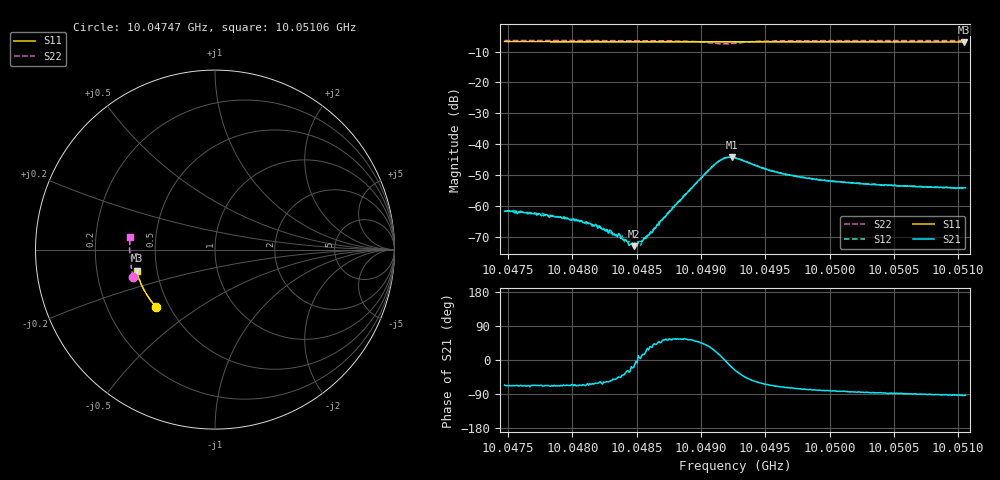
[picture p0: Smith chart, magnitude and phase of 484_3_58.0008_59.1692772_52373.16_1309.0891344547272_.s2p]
#  HZ  S  RI  R  50.00
! Rohde & Schwarz Vector Network Analyzer
! Rohde-Schwarz,ZNB20-2Port,1311601062101988,3.16
! Created: UTC 3/21/2024, 1:12:00 AM
! freq[Hz]  re:S11  im:S11  re:S21  im:S21  re:S12  im:S12  re:S22  im:S22
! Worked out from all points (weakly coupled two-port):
!   401 points, 10.04747 GHz to 10.05106 GHz, reference 50 ohm
!   highest |S21| = -44.29 dB at 10.04924 GHz (marker M1); lowest = -73.1 dB at 10.04848 GHz (marker M2)
!   lowest |S11| = -6.9 dB at 10.05105 GHz (marker M3), VSWR 2.65, Z = 19.2 - j5.65 ohm
!   |S11| at or under -10 dB: nowhere
!   |S22| runs from -7.5 to -6.4 dB; largest |S21 - S12| = 0.00044
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1.0047474e10  -0.3265 -0.3216  0.000324 -0.000742  0.000357 -0.000742  -0.4542 -0.1517
1.004777e10  -0.3395 -0.307  0.000257 -0.000654  0.000326 -0.000678  -0.4597 -0.1321
1.0048074e10  -0.3522 -0.2915  0.000217 -0.000513  0.000263 -0.000504  -0.4645 -0.111
1.0048119e10  -0.3539 -0.2891  0.000245 -0.000469  0.000246 -0.000456  -0.465 -0.1079
1.0048289e10  -0.3607 -0.2801  0.000218 -0.000336  0.000254 -0.000275  -0.467 -0.0956
1.0048378e10  -0.3641 -0.2754  0.000211 -0.000213  0.000196 -0.000219  -0.4678 -0.0887
1.0048423e10  -0.3658 -0.2729  0.000237 -0.000133  0.000225 -0.000142  -0.4682 -0.0854
1.0048459e10  -0.3671 -0.2711  0.000227 -7.16e-05  0.000254 -0.000112  -0.4684 -0.0824
1.0048477e10  -0.3679 -0.2701  0.000208 -7.41e-05  0.00023 -5.35e-05  -0.4684 -0.081
1.0048513e10  -0.3692 -0.2682  0.000257 5.13e-05  0.000256 1.92e-05  -0.4687 -0.078
1.004854e10  -0.3702 -0.2667  0.000263 5.6e-05  0.000241 6.75e-05  -0.4686 -0.0758
1.0048602e10  -0.3725 -0.2633  0.000287 0.000202  0.000293 0.000197  -0.4687 -0.0705
1.0048674e10  -0.375 -0.2593  0.000319 0.000365  0.000366 0.000407  -0.4686 -0.0641
1.0049104e10  -0.3894 -0.2349  0.00414 0.00197  0.00402 0.00225  -0.4322 -0.0262
1.0049176e10  -0.3914 -0.231  0.00578 0.00033  0.0058 0.000675  -0.4188 -0.04
1.0049238e10  -0.3935 -0.2276  0.00578 -0.00196  0.00591 -0.00156  -0.4224 -0.0575
1.0049265e10  -0.3941 -0.2261  0.00531 -0.00271  0.00555 -0.00235  -0.4277 -0.0624
1.0049543e10  -0.4029 -0.2101  0.00144 -0.00338  0.00169 -0.00333  -0.467 -0.0461
1.0049865e10  -0.4119 -0.1908  0.000516 -0.00266  0.000715 -0.00265  -0.4747 -0.0163
1.0050465e10  -0.426 -0.1541  0.000101 -0.00215  0.000227 -0.00214  -0.4753 0.0284
1.0051047e10  -0.4365 -0.1174  -0.000128 -0.00195  3.94e-06 -0.00192  -0.4712 0.0681
1.0051056e10  -0.4367 -0.1169  -0.000111 -0.00195  -1.1e-05 -0.00192  -0.4712 0.0687
